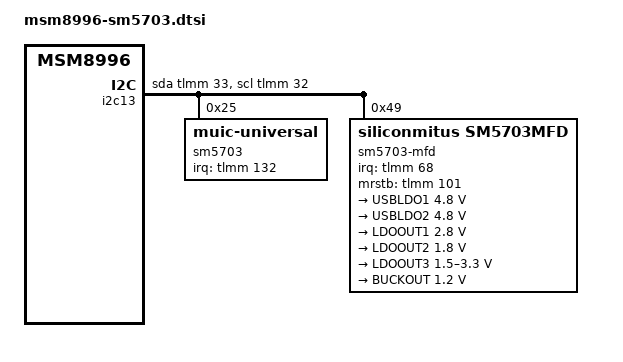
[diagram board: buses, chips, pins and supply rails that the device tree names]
/* Copyright (c) 2012, The Linux Foundation. All rights reserved.
 *
 * This program is free software; you can redistribute it and/or modify
 * it under the terms of the GNU General Public License version 2 and
 * only version 2 as published by the Free Software Foundation.
 *
 * This program is distributed in the hope that it will be useful,
 * but WITHOUT ANY WARRANTY; without even the implied warranty of
 * MERCHANTABILITY or FITNESS FOR A PARTICULAR PURPOSE.  See the
 * GNU General Public License for more details.
 */

&soc {
        muic {
                status = "okay";
		muic,support-list = "+OTG:GND",
				"-MHL:1K",
				"-VZW Accessory:28.7K",
				"-VZW Incompatible:34K",
				"+RDU TA:40.2K",
				"+HMT:49.9K",
				"-Audiodock:64.9K",
				"-USB LANHUB:80.07K",
				"-Charging Cable:102K",
				"+Game Pad:121K",
				"+Jig USB Off:255K",
				"+Jig USB On:301K",
				"+Deskdock:365K",
				"-TYPE2 Charger:442K",
				"+Jig UART Off:523K",
				"+Jig UART On:619K",
				"+TA:OPEN",
				"+USB:OPEN",
				"+CDP:OPEN",
				"+Undefined Charging:XXX";
                muic,afcmode-tx = /bits/ 8 <0x46>;
		muic,qc-hv = /bits/ 8 <0x9>;
	};

	rgb {
		rgb-name = "red", "green", "blue", "white";
	};

	i2c13: i2c@13 {
		cell-index = <13>;
		compatible = "i2c-gpio";
		gpios = <&tlmm 33 0 /* sda */
			&tlmm 32 0 /* scl */
			>;
		i2c-gpio,delay-us = <2>;
		#address-cells = <1>;
		#size-cells = <0>;

		sm5703@25 {
			compatible = "muic-universal";
			reg = <0x25>;
			interrupt-parent = <&tlmm>;
			interrupts = <132 0x0>;
			sm5703,irq-gpio = <&tlmm 132 0x00>;
			muic-universal,irq-gpio = <&tlmm 132 0x00>;
			muic-universal,chip_name = "sm,sm5703";
			sm5703,wakeup;
			muic,undefined_range;
			pinctrl-names = "muic_active", "muic_suspend";
			pinctrl-0 = <&muic_i2c_active &muic_irq_active>;
			pinctrl-1 = <&muic_i2c_suspend &muic_irq_suspend>;
			haptic,mode = <1>;
			haptic,divisor = <128>;
		};

		sm5703-mfd@49{
			compatible = "siliconmitus,sm5703mfd";
			reg = <0x49>;
			interrupt-parent = <&tlmm>;
			sm5703,irq-gpio = <&tlmm 68 0x00>;
			pinctrl-names = "default";
			pinctrl-0 = <&charger_int_active>;
			sm5703,mrstb-gpio = <&tlmm 101 0x00>;

			sm5703_charger {
				compatible = "siliconmitus,sm5703-charger";
				chg_autostop = <1>;
				chg_autoset = <1>;
				chg_aiclen = <1>;
				chg_aiclth = <4300>;
				fg_vol_val = <4350>;
				fg_soc_val = <95>;
				fg_curr_avr_val = <150>;
			};

			sm5703_usbldo1 {
				compatible = "siliconmitus,sm5703-usbldo1";
				regulator-name = "USBLDO1"; /* change name by yourself */
				regulator-min-microvolt = <4800000>;
				regulator-max-microvolt = <4800000>; /* max == min then apply_uV = 1 */
				/* regulator-microvolt-offset = < >; optional*/
				/* regulator-boot-on = "yes"; optional, exist = enabled */
				regulator-always-on = "yes";
				/* regulator-ramp-delay = <100>; optional*/
			};

			sm5703_usbldo2 {
				compatible = "siliconmitus,sm5703-usbldo2";
				regulator-name = "USBLDO2"; /* change name by yourself */
				regulator-min-microvolt = <4800000>;
				regulator-max-microvolt = <4800000>; /* max == min then apply_uV = 1 */
				/* regulator-microvolt-offset = < >; optional*/
				/* regulator-boot-on = "yes"; optional, exist = enabled */
				/* regulator-always-on = "yes"; optional, exist = enabled */
				/* regulator-ramp-delay = <100>; optional*/
			};

			sm5703_ldo1 {
				compatible = "siliconmitus,sm5703-ldo1";
				regulator-name = "LDOOUT1"; /* change name by yourself */
				regulator-min-microvolt = <2800000>;
				regulator-max-microvolt = <2800000>; /* max == min then apply_uV = 1 */
				/* regulator-microvolt-offset = < >; optional*/
				/* regulator-boot-on = "yes"; optional, exist = enabled */
				/* regulator-always-on = "yes"; optional, exist = enabled */
				/* regulator-ramp-delay = <100>; optional*/
			};

			sm5703_ldo2 {
				compatible = "siliconmitus,sm5703-ldo2";
				regulator-name = "LDOOUT2"; /* change name by yourself */
				regulator-min-microvolt = <1800000>;
				regulator-max-microvolt = <1800000>; /* max == min then apply_uV = 1 */
				/* regulator-microvolt-offset = < >; optional*/
				/* regulator-boot-on = "yes"; optional, exist = enabled */
				/* regulator-always-on = "yes"; optional, exist = enabled */
				/* regulator-ramp-delay = <100>; optional*/
			};

			sm5703_ldo3 {
				compatible = "siliconmitus,sm5703-ldo3";
				regulator-name = "LDOOUT3"; /* change name by yourself */
				regulator-min-microvolt = <1500000>;
				regulator-max-microvolt = <3300000>; /* max == min then apply_uV = 1 */
				/* regulator-microvolt-offset = < >; optional*/
				/* regulator-boot-on = "yes"; optional, exist = enabled */
				/* regulator-always-on = "yes"; optional, exist = enabled */
				/* regulator-ramp-delay = <100>; optional*/
			};

			sm5703_buck {
				compatible = "siliconmitus,sm5703-buck";
				regulator-name = "BUCKOUT"; /* change name by yourself */
				regulator-min-microvolt = <1200000>;
				regulator-max-microvolt = <1200000>; /* max == min then apply_uV = 1 */
				/* regulator-microvolt-offset = < >; optional*/
				/* regulator-boot-on = "yes"; optional, exist = enabled */
				/* regulator-always-on = "yes"; optional, exist = enabled */
				/* regulator-ramp-delay = <100>; optional*/

			};
		};
	};

/*
	rgb {
		device_type = <0>;
		rgb-name = "led_w", "led_r", "led_g", "led_b";

		normal_powermode_current = <10>;
		low_powermode_current = <2>;
		br_ratio_r = <450>;
		br_ratio_g = <70>;
		br_ratio_b = <200>;

		normal_powermode_current_bk = <10>;
		low_powermode_current_bk = <2>;
		br_ratio_r_bk = <320>;
		br_ratio_g_bk = <50>;
		br_ratio_b_bk = <170>;

		normal_powermode_current_wh = <10>;
		low_powermode_current_wh = <2>;
		br_ratio_r_wh = <150>;
		br_ratio_g_wh = <40>;
		br_ratio_b_wh = <250>;

		normal_powermode_current_gd = <10>;
		low_powermode_current_gd = <2>;
		br_ratio_r_gd = <150>;
		br_ratio_g_gd = <40>;
		br_ratio_b_gd = <250>;

		normal_powermode_current_sv = <10>;
		low_powermode_current_sv = <2>;
		br_ratio_r_sv = <170>;
		br_ratio_g_sv = <60>;
		br_ratio_b_sv = <360>;

		normal_powermode_current_pg = <10>;
		low_powermode_current_pg = <2>;
		br_ratio_r_pg = <100>;
		br_ratio_g_pg = <50>;
		br_ratio_b_pg = <290>;
	};
*/
};

